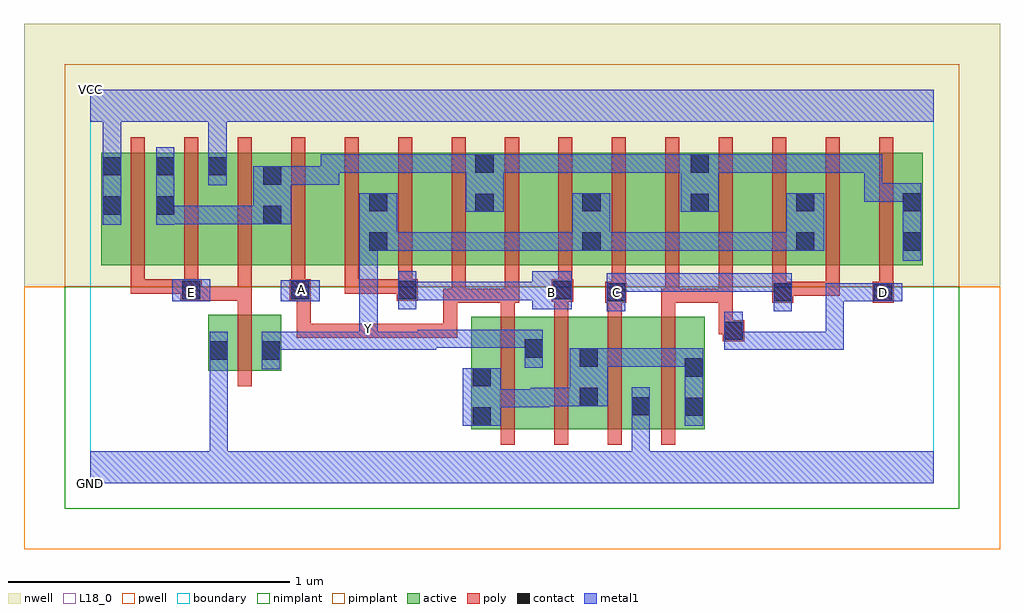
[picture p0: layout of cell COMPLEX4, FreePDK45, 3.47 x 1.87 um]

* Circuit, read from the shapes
.subckt COMPLEX4 A B C D E GND VCC Y
M1 Y E GND VSUBS nfet w=0.2u l=0.05u
M2 Y A n1 VSUBS nfet w=0.4u l=0.05u
M3 n1 B Y VSUBS nfet w=0.4u l=0.05u
M4 GND C n1 VSUBS nfet w=0.4u l=0.05u
M5 n1 D GND VSUBS nfet w=0.4u l=0.05u
M6 n2 E VCC n3 pfet w=0.4u l=0.05u m=3
M7 n4 A n2 n3 pfet w=0.4u l=0.05u
M8 Y B n4 n3 pfet w=0.4u l=0.05u
M9 n5 B Y n3 pfet w=0.4u l=0.05u
M10 n2 A n5 n3 pfet w=0.4u l=0.05u
M11 n6 A n2 n3 pfet w=0.4u l=0.05u
M12 Y B n6 n3 pfet w=0.4u l=0.05u
M13 n7 C Y n3 pfet w=0.4u l=0.05u
M14 n2 D n7 n3 pfet w=0.4u l=0.05u
M15 n8 D n2 n3 pfet w=0.4u l=0.05u
M16 Y C n8 n3 pfet w=0.4u l=0.05u
M17 n9 C Y n3 pfet w=0.4u l=0.05u
M18 n2 D n9 n3 pfet w=0.4u l=0.05u
.ends

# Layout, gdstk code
import gdstk
lib = gdstk.Library(unit=1e-6, precision=1e-09)
def R(c, l, rs):  # rectangles x0, y0, x1, y1
    for r in rs: c.add(gdstk.rectangle(r[:2], r[2:], *l))
def A(c, l, x, y, w, h, nx, ny, dx, dy):  # array of equal rectangles
    R(c, l, [(x+i*dx, y+j*dy, x+i*dx+w, y+j*dy+h) for i in range(nx) for j in range(ny)])
active = (1, 0)
pwell = (2, 0)
nwell = (3, 0)
nimplant = (4, 0)
pimplant = (5, 0)
poly = (9, 0)
contact = (10, 0)
metal1 = (11, 0)
L18_0 = (18, 0)
boundary = (235, 0)

complex4 = lib.new_cell('COMPLEX4')
R(complex4, active, [(1.355,0.192,1.615,0.592), (1.54,0.192,1.81,0.592), (1.735,0.192,1.995,0.592), (1.92,0.192,2.185,0.592), (1.355,0.2,1.43,0.592), (2.11,0.2,2.185,0.592), (1.92,0.237,1.995,0.492), (1.54,0.245,1.615,0.517), (1.735,0.245,1.81,0.492), (0.42,0.4,0.68,0.6), (0.42,0.435,0.495,0.6), (0.605,0.435,0.68,0.6), (0.04,0.775,0.305,1.175), (0.04,0.775,0.115,1.175), (0.23,0.775,0.49,1.175), (0.23,0.775,0.305,1.165), (0.415,0.775,0.685,1.175), (0.415,0.775,0.49,1.175), (0.61,0.775,0.685,1.155), (0.61,0.775,0.835,1.175), (0.835,0.775,1.062,1.175), (0.987,0.775,1.062,1.07), (0.987,0.775,1.215,1.175), (1.215,0.775,1.44,1.175), (1.365,0.775,1.595,1.175), (1.365,0.775,1.44,1.175), (1.595,0.775,1.82,1.175), (1.745,0.775,1.975,1.175), (1.745,0.775,1.82,1.07), (1.975,0.775,2.205,1.175), (2.13,0.775,2.355,1.175), (2.13,0.775,2.205,1.175), (2.355,0.775,2.58,1.175), (2.505,0.775,2.735,1.175), (2.505,0.775,2.58,1.07), (2.735,0.775,2.96,1.175), (2.885,0.775,2.96,1.155)])
R(complex4, pwell, [(-0.235,-0.235,3.235,0.7)])
R(complex4, nwell, [(-0.235,0.7,3.235,1.635)])
R(complex4, nimplant, [(-0.09,-0.09,3.09,0.7)])
R(complex4, pimplant, [(-0.09,0.7,3.09,1.49)])
A(complex4, poly, 1.46, 0.137, 0.05, 0.51, 4, 1, 0.19, 0)
A(complex4, poly, 2.425, 0.667, 0.05, 0.103, 3, 1, 0.19, 0)
A(complex4, poly, 0.715, 0.675, 0.05, 0.095, 3, 1, 0.19, 0)
A(complex4, poly, 0.145, 0.72, 0.05, 0.51, 15, 1, 0.19, 0)
R(complex4, poly, [(0.525,0.345,0.575,0.655), (2.25,0.505,2.325,0.58), (0.735,0.517,0.785,0.567), (0.735,0.517,0.785,0.567), (0.735,0.517,0.785,0.567), (0.735,0.517,0.785,0.567), (0.735,0.517,0.785,0.567), (0.735,0.517,0.917,0.567), (0.735,0.517,0.785,0.7), (0.867,0.517,0.917,0.567), (0.867,0.517,1.087,0.567), (1.037,0.517,1.087,0.567), (1.037,0.517,1.087,0.567), (1.037,0.517,1.087,0.567), (1.037,0.517,1.305,0.567), (1.255,0.517,1.305,0.567), (1.255,0.517,1.305,0.567), (1.255,0.517,1.305,0.567), (1.255,0.517,1.305,0.692), (2.235,0.53,2.285,0.692), (2.235,0.53,2.3,0.58), (2.25,0.53,2.3,0.58), (1.46,0.597,1.51,0.692), (1.65,0.597,1.7,0.695), (1.84,0.597,1.89,0.692), (2.03,0.597,2.08,0.692), (0.525,0.605,0.575,0.7), (1.255,0.642,1.305,0.692), (1.255,0.642,1.305,0.692), (1.255,0.642,1.335,0.692), (1.285,0.642,1.335,0.77), (1.285,0.642,1.51,0.692), (1.46,0.642,1.51,0.692), (1.46,0.642,1.51,0.692), (1.46,0.642,1.525,0.692), (1.475,0.642,1.525,0.77), (1.832,0.642,1.907,0.717), (2.03,0.642,2.095,0.692), (2.045,0.642,2.095,0.77), (2.045,0.642,2.285,0.692), (2.235,0.642,2.285,0.692), (2.235,0.642,2.285,0.692), (2.235,0.642,2.285,0.692), (2.235,0.642,2.285,0.77), (2.425,0.642,2.5,0.717), (2.782,0.642,2.857,0.717), (1.642,0.645,1.717,0.725), (0.322,0.65,0.397,0.725), (0.347,0.65,0.397,0.7), (0.347,0.65,0.397,0.7), (0.347,0.65,0.575,0.7), (0.525,0.65,0.575,0.7), (0.525,0.65,0.575,0.77), (0.71,0.65,0.785,0.725), (1.09,0.65,1.165,0.725), (1.855,0.667,1.905,0.77), (2.45,0.667,2.665,0.717), (2.45,0.667,2.5,0.717), (2.45,0.667,2.5,0.717), (2.615,0.667,2.665,0.717), (0.145,0.675,0.195,0.725), (0.145,0.675,0.195,0.725), (0.145,0.675,0.195,0.725), (0.145,0.675,0.195,0.77), (0.145,0.675,0.372,0.725), (0.335,0.675,0.385,0.77), (0.905,0.675,0.955,0.725), (0.905,0.675,0.955,0.725), (0.905,0.675,0.955,0.725), (0.905,0.675,1.14,0.725), (1.665,0.675,1.715,0.77)])
R(complex4, contact, [(1.36,0.205,1.425,0.27), (2.115,0.24,2.18,0.305), (1.925,0.242,1.99,0.307), (1.74,0.275,1.805,0.34), (1.36,0.345,1.425,0.41), (2.115,0.38,2.18,0.445), (1.74,0.415,1.805,0.48), (0.425,0.44,0.49,0.505), (0.61,0.44,0.675,0.505), (1.545,0.447,1.61,0.512), (2.255,0.51,2.32,0.575), (1.837,0.647,1.902,0.712), (2.43,0.647,2.495,0.712), (2.787,0.647,2.852,0.712), (0.327,0.655,0.392,0.72), (0.715,0.655,0.78,0.72), (1.095,0.655,1.16,0.72), (1.647,0.655,1.712,0.72), (0.992,0.827,1.057,0.892), (1.75,0.827,1.815,0.892), (2.51,0.827,2.575,0.892), (2.89,0.827,2.955,0.892), (0.615,0.922,0.68,0.987), (0.045,0.955,0.11,1.02), (0.235,0.955,0.3,1.02), (1.37,0.965,1.435,1.03), (2.135,0.965,2.2,1.03), (0.992,0.967,1.057,1.032), (1.75,0.967,1.815,1.032), (2.51,0.967,2.575,1.032), (2.89,0.967,2.955,1.032), (0.615,1.062,0.68,1.127), (0.045,1.095,0.11,1.16), (0.235,1.095,0.3,1.16), (0.42,1.095,0.485,1.16), (1.37,1.105,1.435,1.17), (2.135,1.105,2.2,1.17)])
R(complex4, metal1, [(0,0,3,0.115), (0.425,0.05,0.49,0.115), (0.425,0.05,0.49,0.115), (0.425,0.05,0.49,0.47), (1.925,0.05,1.99,0.132), (1.925,0.067,1.99,0.132), (1.925,0.067,1.99,0.272), (1.325,0.205,1.46,0.41), (2.115,0.205,2.18,0.48), (1.925,0.207,1.99,0.342), (1.395,0.27,1.46,0.335), (1.395,0.27,1.46,0.335), (1.395,0.27,1.632,0.335), (1.567,0.27,1.632,0.34), (1.567,0.275,1.632,0.34), (1.567,0.275,1.632,0.34), (1.567,0.275,1.77,0.34), (1.705,0.275,1.84,0.48), (0.425,0.405,0.49,0.47), (0.425,0.405,0.49,0.47), (0.425,0.405,0.49,0.47), (0.425,0.405,0.49,0.47), (0.425,0.405,0.49,0.54), (0.61,0.405,0.675,0.54), (1.545,0.412,1.61,0.547), (1.775,0.415,1.84,0.48), (1.775,0.415,1.84,0.48), (1.775,0.415,2.027,0.48), (1.962,0.415,2.027,0.48), (1.962,0.415,2.027,0.48), (1.962,0.415,2.027,0.48), (1.962,0.415,2.165,0.48), (2.1,0.415,2.165,0.48), (2.1,0.415,2.18,0.48), (0.61,0.475,0.675,0.54), (0.61,0.475,0.675,0.54), (0.61,0.475,0.885,0.54), (0.82,0.475,0.885,0.54), (0.82,0.475,0.885,0.54), (0.82,0.475,0.885,0.54), (0.82,0.475,1.022,0.54), (0.957,0.475,1.022,0.54), (0.957,0.475,1.022,0.54), (0.957,0.475,1.022,0.54), (0.957,0.475,1.23,0.54), (0.957,0.475,1.022,0.547), (1.165,0.475,1.23,0.547), (2.255,0.475,2.32,0.61), (2.255,0.475,2.402,0.54), (2.337,0.475,2.402,0.54), (2.337,0.475,2.402,0.54), (2.337,0.475,2.402,0.54), (2.337,0.475,2.54,0.54), (2.475,0.475,2.54,0.54), (2.475,0.475,2.68,0.54), (2.615,0.475,2.68,0.54), (2.615,0.475,2.68,0.712), (0.957,0.482,1.022,0.617), (1.165,0.482,1.297,0.547), (1.232,0.482,1.297,0.547), (1.232,0.482,1.435,0.547), (1.37,0.482,1.435,0.547), (1.37,0.482,1.435,0.547), (1.37,0.482,1.435,0.547), (1.37,0.482,1.61,0.547), (0.957,0.552,1.022,0.892), (1.837,0.612,1.902,0.747), (2.43,0.612,2.495,0.747), (1.095,0.62,1.16,0.755), (1.572,0.62,1.712,0.755), (0.292,0.647,0.427,0.725), (0.677,0.647,0.817,0.722), (2.615,0.647,2.68,0.712), (2.615,0.647,2.68,0.712), (2.615,0.647,2.68,0.712), (2.615,0.647,2.817,0.712), (2.752,0.647,2.817,0.712), (2.752,0.647,2.817,0.712), (2.752,0.647,2.887,0.712), (1.095,0.652,1.252,0.717), (1.187,0.652,1.252,0.717), (1.187,0.652,1.297,0.717), (1.232,0.652,1.297,0.717), (1.232,0.652,1.472,0.717), (1.407,0.652,1.472,0.717), (1.407,0.652,1.472,0.717), (1.407,0.652,1.472,0.717), (1.407,0.652,1.61,0.717), (1.545,0.652,1.61,0.717), (1.545,0.652,1.637,0.717), (1.837,0.682,1.99,0.747), (1.925,0.682,1.99,0.747), (1.925,0.682,2.165,0.747), (2.1,0.682,2.165,0.747), (2.1,0.682,2.165,0.747), (2.1,0.682,2.165,0.747), (2.1,0.682,2.302,0.747), (2.237,0.682,2.302,0.747), (2.237,0.682,2.402,0.747), (2.337,0.682,2.402,0.747), (2.337,0.682,2.495,0.747), (2.89,0.792,2.955,1.067), (0.957,0.827,1.092,1.032), (1.027,0.827,1.092,0.892), (1.027,0.827,1.092,0.892), (1.027,0.827,1.23,0.892), (1.165,0.827,1.23,0.892), (1.165,0.827,1.297,0.892), (1.232,0.827,1.297,0.892), (1.232,0.827,1.472,0.892), (1.407,0.827,1.472,0.892), (1.407,0.827,1.472,0.892), (1.407,0.827,1.472,0.892), (1.407,0.827,1.61,0.892), (1.545,0.827,1.61,0.892), (1.545,0.827,1.61,0.892), (1.545,0.827,1.61,0.892), (1.545,0.827,1.78,0.892), (1.715,0.827,1.85,1.032), (1.785,0.827,1.85,0.892), (1.785,0.827,1.85,0.892), (1.785,0.827,1.99,0.892), (1.925,0.827,1.99,0.892), (1.925,0.827,2.165,0.892), (2.1,0.827,2.165,0.892), (2.1,0.827,2.165,0.892), (2.1,0.827,2.165,0.892), (2.1,0.827,2.302,0.892), (2.237,0.827,2.302,0.892), (2.237,0.827,2.402,0.892), (2.337,0.827,2.402,0.892), (2.337,0.827,2.54,0.892), (2.475,0.827,2.54,0.892), (2.475,0.827,2.54,0.892), (2.475,0.827,2.61,1.032), (0.045,0.92,0.11,1.195), (0.235,0.92,0.3,1.195), (0.235,0.922,0.3,0.987), (0.235,0.922,0.3,0.987), (0.235,0.922,0.507,0.987), (0.442,0.922,0.507,0.987), (0.442,0.922,0.507,0.987), (0.442,0.922,0.507,0.987), (0.442,0.922,0.645,0.987), (0.58,0.922,0.715,1.127), (1.335,0.965,1.47,1.17), (2.1,0.965,2.235,1.17), (2.752,1.002,2.817,1.067), (2.752,1.002,2.955,1.067), (2.752,1.002,2.817,1.17), (2.89,1.002,2.955,1.067), (2.89,1.002,2.955,1.067), (0.42,1.06,0.485,1.195), (0.65,1.062,0.715,1.127), (0.65,1.062,0.715,1.127), (0.65,1.062,0.885,1.127), (0.82,1.062,0.885,1.127), (0.82,1.062,0.885,1.127), (0.82,1.062,0.885,1.17), (0.82,1.105,0.885,1.17), (0.82,1.105,0.885,1.17), (0.82,1.105,1.022,1.17), (0.957,1.105,1.022,1.17), (0.957,1.105,1.022,1.17), (0.957,1.105,1.022,1.17), (0.957,1.105,1.23,1.17), (1.165,1.105,1.23,1.17), (1.165,1.105,1.297,1.17), (1.232,1.105,1.297,1.17), (1.232,1.105,1.4,1.17), (1.405,1.105,1.47,1.17), (1.405,1.105,1.47,1.17), (1.405,1.105,1.632,1.17), (1.567,1.105,1.632,1.17), (1.567,1.105,1.632,1.17), (1.567,1.105,1.632,1.17), (1.567,1.105,1.852,1.17), (1.787,1.105,1.852,1.17), (1.787,1.105,1.852,1.17), (1.787,1.105,1.852,1.17), (1.787,1.105,1.99,1.17), (1.925,1.105,1.99,1.17), (1.925,1.105,2.165,1.17), (2.1,1.105,2.165,1.17), (2.1,1.105,2.165,1.17), (2.17,1.105,2.302,1.17), (2.237,1.105,2.302,1.17), (2.237,1.105,2.402,1.17), (2.337,1.105,2.402,1.17), (2.337,1.105,2.54,1.17), (2.475,1.105,2.54,1.17), (2.475,1.105,2.677,1.17), (2.612,1.105,2.677,1.17), (2.612,1.105,2.677,1.17), (2.612,1.105,2.677,1.17), (2.612,1.105,2.817,1.17), (2.752,1.105,2.817,1.17), (0.045,1.13,0.11,1.35), (0.42,1.13,0.485,1.35), (0,1.285,3,1.4)])
R(complex4, L18_0, [(0,0,3,0.115), (0.425,0.05,0.49,0.115), (0.425,0.05,0.49,0.115), (0.425,0.05,0.49,0.47), (1.925,0.05,1.99,0.132), (1.925,0.067,1.99,0.132), (1.925,0.067,1.99,0.272), (1.925,0.207,1.99,0.342), (0.425,0.405,0.49,0.47), (0.425,0.405,0.49,0.47), (0.425,0.405,0.49,0.47), (0.425,0.405,0.49,0.47), (0.425,0.405,0.49,0.54), (0.61,0.405,0.675,0.54), (1.545,0.412,1.61,0.547), (0.61,0.475,0.675,0.54), (0.61,0.475,0.675,0.54), (0.61,0.475,0.885,0.54), (0.82,0.475,0.885,0.54), (0.82,0.475,0.885,0.54), (0.82,0.475,0.885,0.54), (0.82,0.475,1.022,0.54), (0.957,0.475,1.022,0.54), (0.957,0.475,1.022,0.54), (0.957,0.475,1.022,0.54), (0.957,0.475,1.022,0.547), (0.957,0.475,1.23,0.54), (1.165,0.475,1.23,0.547), (2.255,0.475,2.32,0.61), (2.255,0.475,2.402,0.54), (2.337,0.475,2.402,0.54), (2.337,0.475,2.402,0.54), (2.337,0.475,2.402,0.54), (2.337,0.475,2.54,0.54), (2.475,0.475,2.54,0.54), (2.475,0.475,2.68,0.54), (2.615,0.475,2.68,0.54), (2.615,0.475,2.68,0.712), (0.957,0.482,1.022,0.617), (1.165,0.482,1.297,0.547), (1.232,0.482,1.297,0.547), (1.232,0.482,1.435,0.547), (1.37,0.482,1.435,0.547), (1.37,0.482,1.435,0.547), (1.37,0.482,1.435,0.547), (1.37,0.482,1.61,0.547), (0.957,0.517,1.022,0.582), (0.957,0.552,1.022,0.892), (1.837,0.612,1.902,0.747), (2.43,0.612,2.495,0.747), (1.095,0.62,1.16,0.755), (1.572,0.62,1.712,0.755), (0.292,0.647,0.427,0.725), (0.327,0.647,0.392,0.712), (0.677,0.647,0.817,0.722), (1.607,0.647,1.672,0.712), (1.837,0.647,1.902,0.712), (2.615,0.647,2.68,0.712), (2.615,0.647,2.68,0.712), (2.615,0.647,2.68,0.712), (2.615,0.647,2.817,0.712), (2.752,0.647,2.817,0.712), (2.752,0.647,2.817,0.712), (2.752,0.647,2.887,0.712), (2.787,0.647,2.852,0.712), (1.095,0.652,1.252,0.717), (1.187,0.652,1.252,0.717), (1.187,0.652,1.297,0.717), (1.232,0.652,1.297,0.717), (1.232,0.652,1.472,0.717), (1.407,0.652,1.472,0.717), (1.407,0.652,1.472,0.717), (1.407,0.652,1.472,0.717), (1.407,0.652,1.61,0.717), (1.545,0.652,1.61,0.717), (1.545,0.652,1.637,0.717), (0.717,0.657,0.782,0.722), (1.837,0.682,1.99,0.747), (1.925,0.682,1.99,0.747), (1.925,0.682,2.165,0.747), (2.1,0.682,2.165,0.747), (2.1,0.682,2.165,0.747), (2.1,0.682,2.165,0.747), (2.1,0.682,2.302,0.747), (2.237,0.682,2.302,0.747), (2.237,0.682,2.402,0.747), (2.337,0.682,2.402,0.747), (2.337,0.682,2.495,0.747), (0.957,0.827,1.092,1.032), (1.027,0.827,1.092,0.892), (1.027,0.827,1.092,0.892), (1.027,0.827,1.23,0.892), (1.165,0.827,1.23,0.892), (1.165,0.827,1.297,0.892), (1.232,0.827,1.297,0.892), (1.232,0.827,1.472,0.892), (1.407,0.827,1.472,0.892), (1.407,0.827,1.472,0.892), (1.407,0.827,1.472,0.892), (1.407,0.827,1.61,0.892), (1.545,0.827,1.61,0.892), (1.545,0.827,1.61,0.892), (1.545,0.827,1.61,0.892), (1.545,0.827,1.78,0.892), (1.715,0.827,1.85,1.032), (1.785,0.827,1.85,0.892), (1.785,0.827,1.85,0.892), (1.785,0.827,1.99,0.892), (1.925,0.827,1.99,0.892), (1.925,0.827,2.165,0.892), (2.1,0.827,2.165,0.892), (2.1,0.827,2.165,0.892), (2.1,0.827,2.165,0.892), (2.1,0.827,2.302,0.892), (2.237,0.827,2.302,0.892), (2.237,0.827,2.402,0.892), (2.337,0.827,2.402,0.892), (2.337,0.827,2.54,0.892), (2.475,0.827,2.54,0.892), (2.475,0.827,2.54,0.892), (2.475,0.827,2.61,1.032), (0.045,0.92,0.11,1.195), (0.42,1.06,0.485,1.195), (0.045,1.13,0.11,1.35), (0.42,1.13,0.485,1.35), (0,1.285,3,1.4)])
R(complex4, boundary, [(0,0,3,1.4)])
complex4.add(gdstk.Label('A', (0.75,0.69), layer=11, texttype=0))
complex4.add(gdstk.Label('B', (1.64,0.68), layer=11, texttype=0))
complex4.add(gdstk.Label('C', (1.87,0.68), layer=11, texttype=0))
complex4.add(gdstk.Label('D', (2.82,0.68), layer=11, texttype=0))
complex4.add(gdstk.Label('E', (0.36,0.68), layer=11, texttype=0))
complex4.add(gdstk.Label('Y', (0.99,0.55), layer=11, texttype=0))
complex4.add(gdstk.Label('VCC', (0,1.4), layer=11, texttype=0))
complex4.add(gdstk.Label('GND', (0,0), layer=11, texttype=0))

lib.write_gds('COMPLEX4.gds')
